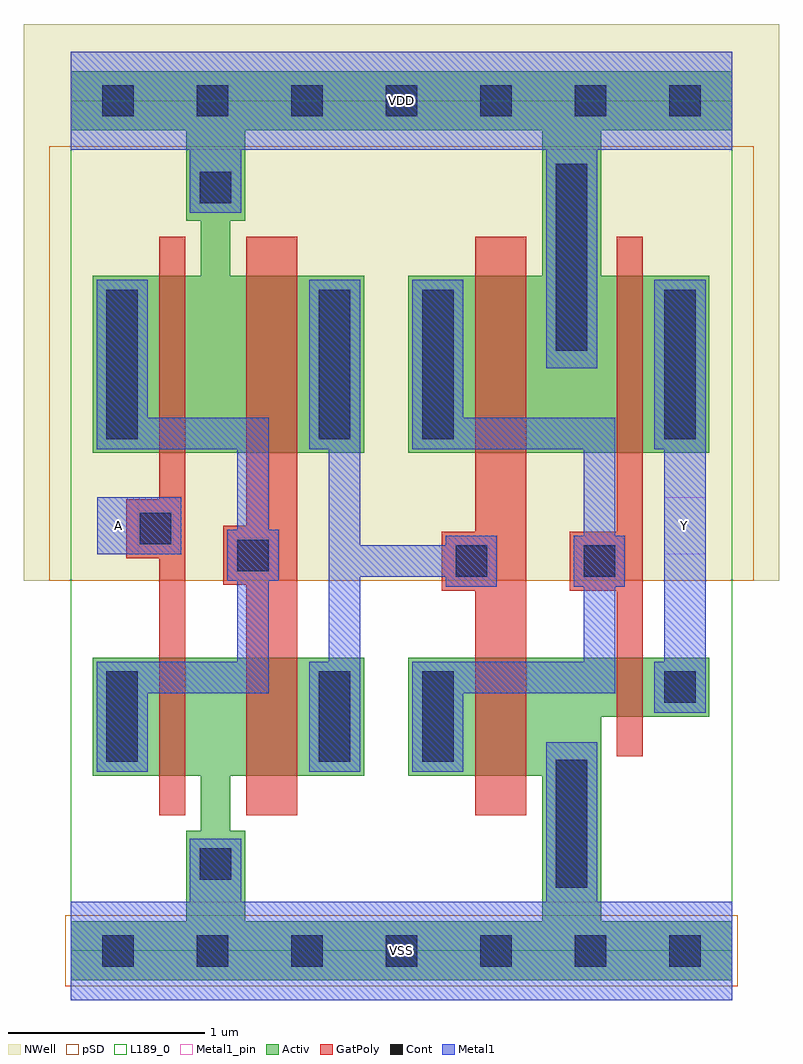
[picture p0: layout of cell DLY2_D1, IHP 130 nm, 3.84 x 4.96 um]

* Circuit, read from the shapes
.subckt DLY2_D1 A VDD VSS Y
XM1 VSS A n1 VSS sg13_lv_nmos w=0.6u l=0.13u
XM2 n2 n1 VSS VSS sg13_lv_nmos w=0.6u l=0.26u
XM3 VSS n2 n3 VSS sg13_lv_nmos w=0.6u l=0.26u
XM4 Y n3 VSS VSS sg13_lv_nmos w=0.3u l=0.13u
XM5 VDD A n1 VDD sg13_lv_pmos w=0.9u l=0.13u
XM6 n2 n1 VDD VDD sg13_lv_pmos w=0.9u l=0.26u
XM7 VDD n2 n3 VDD sg13_lv_pmos w=0.9u l=0.26u
XM8 Y n3 VDD VDD sg13_lv_pmos w=0.9u l=0.13u
.ends

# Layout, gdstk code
import gdstk
lib = gdstk.Library(unit=1e-6, precision=1e-09)
def R(c, l, rs):  # rectangles x0, y0, x1, y1
    for r in rs: c.add(gdstk.rectangle(r[:2], r[2:], *l))
def A(c, l, x, y, w, h, nx, ny, dx, dy):  # array of equal rectangles
    R(c, l, [(x+i*dx, y+j*dy, x+i*dx+w, y+j*dy+h) for i in range(nx) for j in range(ny)])
def P(c, l, *ps):  # polygons
    for p in ps: c.add(gdstk.Polygon(p, *l))
Activ = (1, 0)
GatPoly = (5, 0)
Cont = (6, 0)
Metal1 = (8, 0)
Metal1_pin = (8, 2)
pSD = (14, 0)
NWell = (31, 0)
L189_0 = (189, 0)

dly2_d1 = lib.new_cell('DLY2_D1')
P(dly2_d1, Activ, [(0,-0.15),(0,0.15),(0.585,0.15),(0.585,0.61),(0.66,0.61),(0.66,0.89),(0.11,0.89),(0.11,1.49),(1.49,1.49),(1.49,0.89),(0.81,0.89),(0.81,0.61),(0.885,0.61),(0.885,0.15),(2.395,0.15),(2.395,0.89),(1.715,0.89),(1.715,1.49),(3.245,1.49),(3.245,1.19),(2.695,1.19),(2.695,0.15),(3.36,0.15),(3.36,-0.15)],
  [(0.11,2.53),(0.11,3.43),(0.66,3.43),(0.66,3.71),(0.585,3.71),(0.585,4.17),(0,4.17),(0,4.47),(3.36,4.47),(3.36,4.17),(2.695,4.17),(2.695,3.43),(3.245,3.43),(3.245,2.53),(1.715,2.53),(1.715,3.43),(2.395,3.43),(2.395,4.17),(0.885,4.17),(0.885,3.71),(0.81,3.71),(0.81,3.43),(1.49,3.43),(1.49,2.53)])
P(dly2_d1, GatPoly, [(0.45,0.69),(0.45,1.995),(0.28,1.995),(0.28,2.295),(0.45,2.295),(0.45,3.63),(0.58,3.63),(0.58,0.69)],
  [(0.89,0.69),(0.89,1.86),(0.775,1.86),(0.775,2.16),(0.89,2.16),(0.89,3.63),(1.15,3.63),(1.15,0.69)],
  [(2.055,0.69),(2.055,1.83),(1.885,1.83),(1.885,2.13),(2.055,2.13),(2.055,3.63),(2.315,3.63),(2.315,0.69)],
  [(2.775,0.99),(2.775,1.83),(2.535,1.83),(2.535,2.13),(2.775,2.13),(2.775,3.63),(2.905,3.63),(2.905,0.99)])
A(dly2_d1, Cont, 0.16, -0.08, 0.16, 0.16, 7, 2, 0.48, 4.32)
R(dly2_d1, Cont, [(2.465,0.32,2.625,0.97), (0.655,0.36,0.815,0.52), (0.18,0.96,0.34,1.42), (1.26,0.96,1.42,1.42), (1.785,0.96,1.945,1.42), (3.015,1.26,3.175,1.42), (1.955,1.9,2.115,2.06), (2.605,1.9,2.765,2.06), (0.845,1.93,1.005,2.09), (0.35,2.065,0.51,2.225), (0.18,2.6,0.34,3.36), (1.26,2.6,1.42,3.36), (1.785,2.6,1.945,3.36), (3.015,2.6,3.175,3.36), (2.465,3.05,2.625,4), (0.655,3.8,0.815,3.96)])
R(dly2_d1, Metal1, [(0.135,2.015,0.56,2.305)])
P(dly2_d1, Metal1, [(0,-0.25),(0,0.25),(0.605,0.25),(0.605,0.57),(0.865,0.57),(0.865,0.25),(2.415,0.25),(2.415,1.06),(2.675,1.06),(2.675,0.25),(3.36,0.25),(3.36,-0.25)],
  [(0.13,0.91),(0.13,1.47),(0.845,1.47),(0.845,1.88),(0.795,1.88),(0.795,2.14),(0.845,2.14),(0.845,2.55),(0.13,2.55),(0.13,3.41),(0.39,3.41),(0.39,2.71),(1.005,2.71),(1.005,2.14),(1.055,2.14),(1.055,1.88),(1.005,1.88),(1.005,1.31),(0.39,1.31),(0.39,0.91)],
  [(1.21,0.91),(1.21,1.47),(1.31,1.47),(1.31,2.55),(1.21,2.55),(1.21,3.41),(1.47,3.41),(1.47,2.06),(1.905,2.06),(1.905,2.11),(2.165,2.11),(2.165,1.85),(1.905,1.85),(1.905,1.9),(1.47,1.9),(1.47,0.91)],
  [(1.735,0.91),(1.735,1.47),(2.605,1.47),(2.605,1.85),(2.555,1.85),(2.555,2.11),(2.605,2.11),(2.605,2.55),(1.735,2.55),(1.735,3.41),(1.995,3.41),(1.995,2.71),(2.765,2.71),(2.765,2.11),(2.815,2.11),(2.815,1.85),(2.765,1.85),(2.765,1.31),(1.995,1.31),(1.995,0.91)],
  [(2.965,1.21),(2.965,1.47),(3.015,1.47),(3.015,2.55),(2.965,2.55),(2.965,3.41),(3.225,3.41),(3.225,1.21)],
  [(2.415,2.96),(2.415,4.07),(0.865,4.07),(0.865,3.75),(0.605,3.75),(0.605,4.07),(0,4.07),(0,4.57),(3.36,4.57),(3.36,4.07),(2.675,4.07),(2.675,2.96)])
R(dly2_d1, Metal1_pin, [(0,-0.25,3.36,0.25), (0.135,2.015,0.345,2.305), (3.015,2.015,3.225,2.305), (0,4.07,3.36,4.57)])
R(dly2_d1, pSD, [(-0.03,-0.18,3.39,0.18), (-0.11,1.88,3.47,4.09)])
R(dly2_d1, NWell, [(-0.24,1.88,3.6,4.71)])
R(dly2_d1, L189_0, [(0,0,3.36,4.32)])
dly2_d1.add(gdstk.Label('Y', (3.12,2.16), layer=8, texttype=25))
dly2_d1.add(gdstk.Label('VSS', (1.68,0), layer=8, texttype=25))
dly2_d1.add(gdstk.Label('VDD', (1.68,4.32), layer=8, texttype=25))
dly2_d1.add(gdstk.Label('A', (0.24,2.16), layer=8, texttype=25))

lib.write_gds('DLY2_D1.gds')
